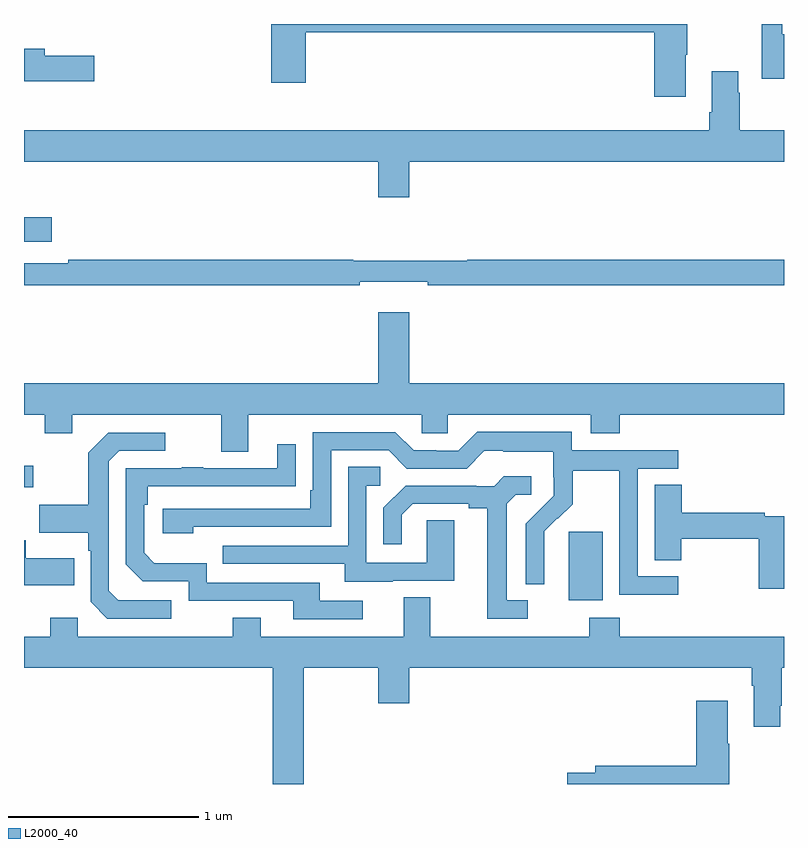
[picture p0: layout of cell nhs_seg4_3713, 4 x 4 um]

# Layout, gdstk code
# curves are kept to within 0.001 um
import gdstk
lib = gdstk.Library(unit=1e-6, precision=1e-09)
def R(c, l, rs):  # rectangles x0, y0, x1, y1
    for r in rs: c.add(gdstk.rectangle(r[:2], r[2:], *l))
def P(c, l, *ps):  # polygons
    for p in ps: c.add(gdstk.Polygon(p, *l))
L2000_40 = (2000, 40)

nhs_seg4_3713 = lib.new_cell('nhs_seg4_3713')
R(nhs_seg4_3713, L2000_40, [(309.866,771.866,310.045,772.227), (307,772.463,307.048,772.576), (307,773.753,307.147,773.883)])
P(nhs_seg4_3713, L2000_40, [(311,774.847),(310.992,774.847),(310.992,774.9),(310.884,774.9),(310.884,774.611),(311,774.611)],
  [(310.483,774.739),(310.491,774.739),(310.491,774.9),(308.3,774.9),(308.3,774.591),(308.483,774.591),(308.483,774.856),(310.316,774.856),(310.316,774.516),(310.483,774.516)],
  [(307.369,774.734),(307.108,774.734),(307.108,774.77),(307,774.77),(307,774.599),(307.369,774.599)],
  [(310.619,774.652),(310.619,774.436),(310.607,774.436),(310.607,774.34),(307,774.34),(307,774.176),(308.864,774.176),(308.864,773.988),(309.028,773.988),(309.028,774.176),(311,774.176),(311,774.34),(310.767,774.34),(310.767,774.539),(310.759,774.539),(310.759,774.652)],
  [(308.768,773.543),(309.124,773.543),(309.124,773.524),(311,773.524),(311,773.66),(309.334,773.66),(309.334,773.653),(308.734,773.653),(308.734,773.66),(307.234,773.66),(307.234,773.64),(307,773.64),(307,773.524),(308.768,773.524)],
  [(308.179,772.844),(309.093,772.844),(309.093,772.746),(309.231,772.746),(309.231,772.844),(309.983,772.844),(309.983,772.745),(310.136,772.745),(310.136,772.844),(311,772.844),(311,773.008),(309.028,773.008),(309.028,773.383),(308.864,773.383),(308.864,773.008),(307,773.008),(307,772.844),(307.108,772.844),(307.108,772.745),(307.255,772.745),(307.255,772.844),(308.039,772.844),(308.039,772.65),(308.179,772.65)],
  [(310.444,771.993),(310.23,771.993),(310.23,772.56),(310.444,772.56),(310.444,772.656),(309.882,772.656),(309.882,772.753),(309.385,772.753),(309.285,772.653),(309.17,772.653),(309.17,772.656),(309.051,772.656),(308.955,772.752),(308.52,772.752),(308.52,772.447),(308.507,772.447),(308.507,772.35),(307.731,772.35),(307.731,772.22),(307.892,772.22),(307.892,772.254),(308.616,772.254),(308.616,772.656),(308.919,772.656),(309.015,772.56),(309.33,772.56),(309.423,772.653),(309.523,772.653),(309.523,772.649),(309.786,772.649),(309.786,772.515),(309.788,772.515),(309.788,772.418),(309.642,772.27),(309.642,771.952),(309.738,771.952),(309.737,772.229),(309.807,772.299),(309.81,772.296),(309.887,772.373),(309.887,772.548),(310.132,772.548),(310.132,772.324),(310.134,772.324),(310.134,771.895),(310.444,771.895)],
  [(307.774,771.867),(307.497,771.867),(307.446,771.918),(307.446,772.599),(307.5,772.653),(307.744,772.653),(307.744,772.749),(307.443,772.749),(307.338,772.643),(307.338,772.371),(307.081,772.371),(307.081,772.223),(307.338,772.223),(307.338,772.127),(307.35,772.127),(307.35,771.858),(307.437,771.771),(307.774,771.771)],
  [(308.782,771.864),(308.557,771.864),(308.557,771.96),(307.962,771.96),(307.962,772.063),(307.685,772.063),(307.632,772.116),(307.632,772.37),(307.652,772.37),(307.652,772.467),(308.429,772.468),(308.429,772.687),(308.333,772.687),(308.333,772.563),(307.943,772.563),(307.943,772.568),(307.831,772.568),(307.831,772.563),(307.536,772.563),(307.536,772.056),(307.626,771.966),(307.866,771.966),(307.866,771.864),(308.417,771.864),(308.417,771.768),(308.782,771.768)],
  [(308.941,771.969),(309.265,771.969),(309.265,772.289),(309.12,772.289),(309.12,772.065),(308.802,772.065),(308.802,772.47),(308.875,772.47),(308.875,772.571),(308.706,772.571),(308.706,772.155),(308.047,772.155),(308.047,772.059),(308.687,772.059),(308.687,771.965),(308.941,771.965)],
  [(309.652,771.867),(309.541,771.867),(309.541,772.375),(309.588,772.422),(309.67,772.422),(309.67,772.519),(309.526,772.519),(309.474,772.467),(309.38,772.467),(309.38,772.47),(309.008,772.47),(308.892,772.354),(308.892,772.161),(308.989,772.161),(308.989,772.317),(309.046,772.374),(309.341,772.374),(309.341,772.352),(309.437,772.352),(309.437,771.771),(309.652,771.771)],
  [(311,772.308),(310.898,772.308),(310.898,772.328),(310.463,772.328),(310.463,772.475),(310.319,772.475),(310.319,772.078),(310.458,772.078),(310.458,772.192),(310.867,772.192),(310.867,771.927),(311,771.927)],
  [(307.265,772.087),(307.009,772.087),(307.009,772.183),(307,772.183),(307,771.947),(307.265,771.947)],
  [(308.473,771.512),(308.864,771.512),(308.864,771.324),(309.028,771.324),(309.028,771.512),(310.829,771.512),(310.829,771.416),(310.841,771.416),(310.841,771.201),(310.981,771.201),(310.981,771.313),(310.989,771.313),(310.989,771.512),(311,771.512),(311,771.676),(310.136,771.676),(310.136,771.775),(309.976,771.775),(309.976,771.676),(309.139,771.676),(309.139,771.884),(308.999,771.884),(308.999,771.676),(308.245,771.676),(308.245,771.775),(308.098,771.775),(308.098,771.676),(307.284,771.676),(307.284,771.775),(307.138,771.775),(307.138,771.676),(307,771.676),(307,771.512),(308.309,771.512),(308.309,770.9),(308.473,770.9)],
  [(310.713,771.113),(310.705,771.113),(310.705,771.337),(310.538,771.337),(310.538,770.996),(310.007,770.996),(310.007,770.96),(309.858,770.96),(309.858,770.9),(310.713,770.9)])

lib.write_gds('nhs_seg4_3713.gds')
